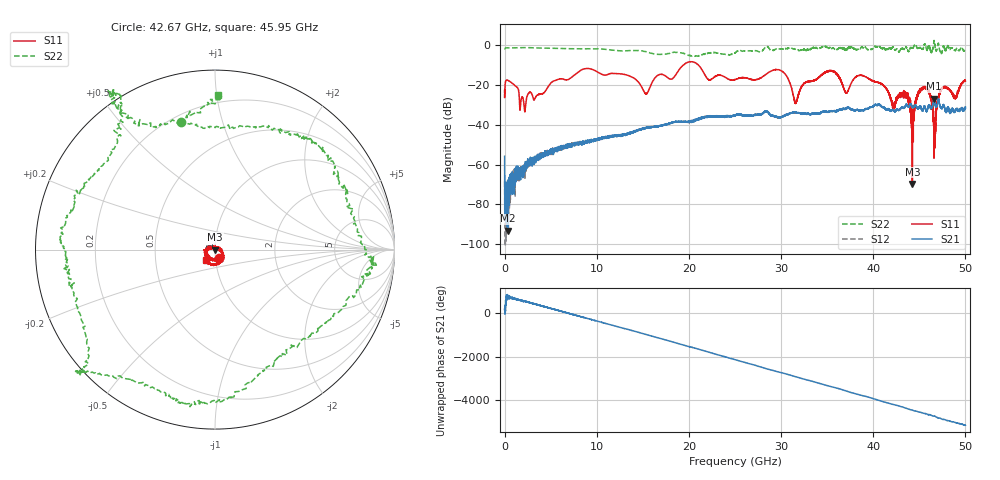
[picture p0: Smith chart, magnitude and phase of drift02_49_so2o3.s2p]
!Created with skrf (http://scikit-rf.org).
# Hz S RI R 50.0
!freq ReS11 ImS11 ReS21 ImS21 ReS12 ImS12 ReS22 ImS22
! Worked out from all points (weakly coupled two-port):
!   10001 points, 300 kHz to 50 GHz, reference 50 ohm
!   highest |S21| = -26.94 dB at 46.61 GHz (marker M1); lowest = -93.2 dB at 325.3 MHz (marker M2)
!   lowest |S11| = -69.7 dB at 44.25 GHz (marker M3), VSWR 1.00, Z = 50 + j0.0315 ohm
!   |S11| at or under -10 dB: start of sweep to 19.42 GHz; 21.00287 GHz to 21.00984 GHz (6.975 MHz wide, 0.0332 % of centre); 21.01 GHz to end of sweep
!   |S22| runs from -5.7 to 2.3 dB; largest |S21 - S12| = 0.0036
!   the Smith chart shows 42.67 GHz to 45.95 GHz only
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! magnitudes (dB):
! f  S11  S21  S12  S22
! 300 kHz  -22.6  -55.9  -68.4  -2.1
! 325.3 MHz  -17.7  -93.2  -69.8  -1.4
! 2.18 GHz  -33.6  -63.6  -62.5  -1.3
! 8.335 GHz  -12.5  -48.8  -48.8  -1.9
! 15.34 GHz  -24.6  -41.8  -41.6  -3.4
! 16.67 GHz  -15.1  -40.8  -40.8  -4.7
! 20.3 GHz  -8.4  -37.9  -38.6  -5.5
! 25 GHz  -17.4  -35.4  -35.5  -3.9
! 29.83 GHz  -12.6  -36.5  -36.6  -2.0
! 31.59 GHz  -28.9  -33.7  -34.1  -2.5
! 33.34 GHz  -18.0  -34.3  -34.5  -1.5
! 35.63 GHz  -13.3  -33.2  -33.2  -1.5
! 37.1 GHz  -24.2  -31.9  -31.7  -2.3
! 38.75 GHz  -15.3  -32.7  -32.7  -1.0
! 41.67 GHz  -24.0  -32.1  -32.3  -1.9
! 43.56 GHz  -26.6  -30.4  -29.9  -1.2
! 44.25 GHz  -69.7  -30.9  -31.0  -1.3
! 45.61 GHz  -21.4  -31.0  -30.9  0.3
! 46.61 GHz  -42.0  -26.9  -26.8  2.3
! 47.49 GHz  -21.4  -31.6  -31.2  -3.0
! 48.9 GHz  -26.9  -32.9  -33.0  -2.8
! 50 GHz  -18.0  -31.0  -31.4  -2.6
